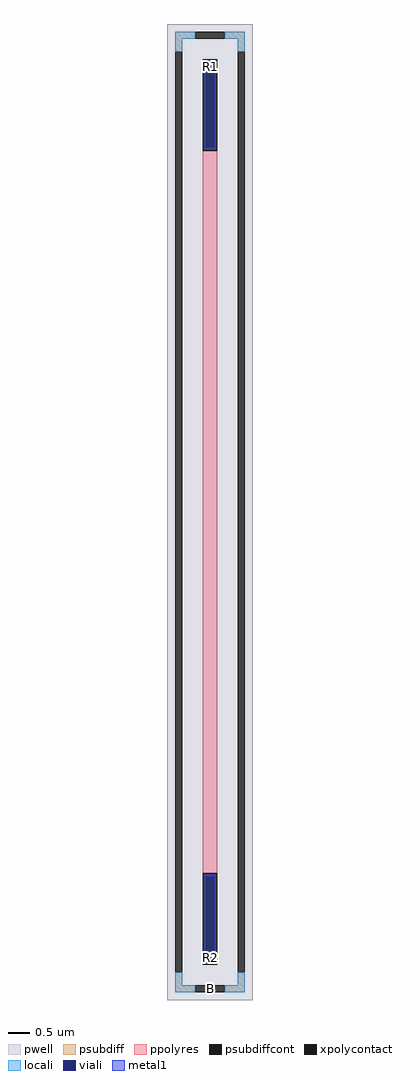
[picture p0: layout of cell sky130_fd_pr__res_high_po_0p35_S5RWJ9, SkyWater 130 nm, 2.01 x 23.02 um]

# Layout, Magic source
magic
tech sky130A
magscale 1 2
<< pwell >>
rect -201 -2302 201 2302
<< psubdiff >>
rect -165 2232 -69 2266
rect 69 2232 165 2266
rect -165 2170 -131 2232
rect 131 2170 165 2232
rect -165 -2232 -131 -2170
rect 131 -2232 165 -2170
rect -165 -2266 -69 -2232
rect 69 -2266 165 -2232
<< psubdiffcont >>
rect -69 2232 69 2266
rect -165 -2170 -131 2170
rect 131 -2170 165 2170
rect -69 -2266 69 -2232
<< xpolycontact >>
rect -35 1704 35 2136
rect -35 -2136 35 -1704
<< ppolyres >>
rect -35 -1704 35 1704
<< locali >>
rect -165 2232 -69 2266
rect 69 2232 165 2266
rect -165 2170 -131 2232
rect 131 2170 165 2232
rect -165 -2232 -131 -2170
rect 131 -2232 165 -2170
rect -165 -2266 -69 -2232
rect 69 -2266 165 -2232
<< viali >>
rect -19 1721 19 2118
rect -19 -2118 19 -1721
<< metal1 >>
rect -25 2118 25 2130
rect -25 1721 -19 2118
rect 19 1721 25 2118
rect -25 1709 25 1721
rect -25 -1721 25 -1709
rect -25 -2118 -19 -1721
rect 19 -2118 25 -1721
rect -25 -2130 25 -2118
<< labels >>
rlabel psubdiffcont 0 -2249 0 -2249 0 B
port 7 nsew
rlabel xpolycontact 0 2101 0 2101 0 R1
port 8 nsew
rlabel xpolycontact 0 -2101 0 -2101 0 R2
port 9 nsew
<< properties >>
string FIXED_BBOX -148 -2249 148 2249
string gencell sky130_fd_pr__res_high_po_0p35
string library sky130
string parameters w 0.35 l 17.2 m 1 nx 1 wmin 0.350 lmin 0.50 class resistor rho 319.8 val 16.829k dummy 0 dw 0.0 term 194.82 sterm 0.0 caplen 0 guard 1 glc 1 grc 1 gtc 1 gbc 1 compatible {sky130_fd_pr__res_high_po_0p35  sky130_fd_pr__res_high_po_0p69 sky130_fd_pr__res_high_po_1p41  sky130_fd_pr__res_high_po_2p85 sky130_fd_pr__res_high_po_5p73} snake 0 full_metal 1 wmax 0.350 vias 1 n_guard 0 hv_guard 0 viagb 0 viagt 0 viagl 0 viagr 0 doports 1
<< end >>
